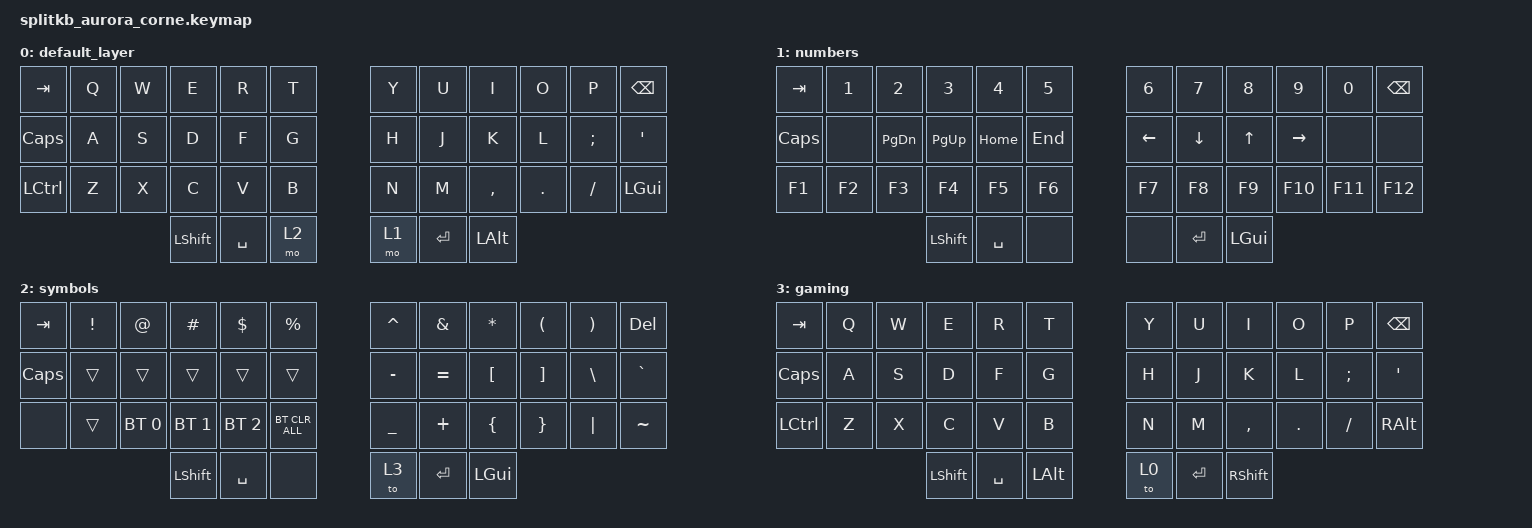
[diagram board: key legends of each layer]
/*
 * Copyright (c) 2020 The ZMK Contributors
 *
 * SPDX-License-Identifier: MIT
 */

#include <behaviors.dtsi>
#include <dt-bindings/zmk/bt.h>
#include <dt-bindings/zmk/keys.h>

/ {
    keymap {
        compatible = "zmk,keymap";

        default_layer {
            // -----------------------------------------------------------------------------------------
            // |  TAB |  Q  |  W  |  E  |  R  |  T  |   |  Y  |  U   |  I  |  O  |  P  | BSPC |
            // | CTRL |  A  |  S  |  D  |  F  |  G  |   |  H  |  J   |  K  |  L  |  ;  |  '   |
            // | SHFT |  Z  |  X  |  C  |  V  |  B  |   |  N  |  M   |  ,  |  .  |  /  | ESC  |
            //                    | GUI | LWR | SPC |   | ENT | RSE  | ALT |

            bindings = <
&kp TAB       &kp Q  &kp W  &kp E           &kp R      &kp T    &kp Y  &kp U      &kp I         &kp O    &kp P     &kp BSPC
&kp CAPSLOCK  &kp A  &kp S  &kp D           &kp F      &kp G    &kp H  &kp J      &kp K         &kp L    &kp SEMI  &kp SQT
&kp LCTRL     &kp Z  &kp X  &kp C           &kp V      &kp B    &kp N  &kp M      &kp COMMA     &kp DOT  &kp FSLH  &kp LEFT_GUI
                            &kp LEFT_SHIFT  &kp SPACE  &mo 2    &mo 1  &kp ENTER  &kp LEFT_ALT
            >;
        };

        numbers {
            // -----------------------------------------------------------------------------------------
            // |  TAB |  1  |  2  |  3  |  4  |  5  |   |  6  |  7  |  8  |  9  |  0  | BSPC |
            // | BTCLR| BT1 | BT2 | BT3 | BT4 | BT5 |   | LFT | DWN |  UP | RGT |     |      |
            // | SHFT |     |     |     |     |     |   |     |     |     |     |     |      |
            //                    | GUI |     | SPC |   | ENT |     | ALT |

            bindings = <
&kp TAB   &kp N1  &kp N2         &kp N3          &kp N4     &kp N5     &kp N6          &kp N7          &kp N8        &kp N9           &kp N0   &kp BACKSPACE
&kp CAPS  &none   &kp PAGE_DOWN  &kp PG_UP       &kp HOME   &kp END    &kp LEFT_ARROW  &kp DOWN_ARROW  &kp UP_ARROW  &kp RIGHT_ARROW  &none    &none
&kp F1    &kp F2  &kp F3         &kp F4          &kp F5     &kp F6     &kp F7          &kp F8          &kp F9        &kp F10          &kp F11  &kp F12
                                 &kp LEFT_SHIFT  &kp SPACE  &none      &none           &kp ENTER       &kp LEFT_GUI
            >;
        };

        symbols {
            // -----------------------------------------------------------------------------------------
            // |  TAB |  !  |  @  |  #  |  $  |  %  |   |  ^  |  &  |  *  |  (  |  )  | BSPC |
            // | CTRL |     |     |     |     |     |   |  -  |  =  |  [  |  ]  |  \  |  `   |
            // | SHFT |     |     |     |     |     |   |  _  |  +  |  {  |  }  | "|" |  ~   |
            //                    | GUI |     | SPC |   | ENT |     | ALT |

            bindings = <
&kp TAB   &kp EXCL  &kp AT        &kp HASH        &kp DLLR      &kp PRCNT         &kp CARET  &kp AMPS   &kp ASTRK     &kp LPAR  &kp RPAR  &kp DELETE
&kp CAPS  &trans    &trans        &trans          &trans        &trans            &kp MINUS  &kp EQUAL  &kp LBKT      &kp RBKT  &kp BSLH  &kp GRAVE
&none     &trans    &bt BT_SEL 0  &bt BT_SEL 1    &bt BT_SEL 2  &bt BT_CLR_ALL    &kp UNDER  &kp PLUS   &kp LBRC      &kp RBRC  &kp PIPE  &kp TILDE
                                  &kp LEFT_SHIFT  &kp SPACE     &none             &to 3      &kp ENTER  &kp LEFT_GUI
            >;
        };

        gaming {
            bindings = <
&kp TAB       &kp Q  &kp W  &kp E           &kp R      &kp T           &kp Y  &kp U      &kp I            &kp O    &kp P     &kp BSPC
&kp CAPSLOCK  &kp A  &kp S  &kp D           &kp F      &kp G           &kp H  &kp J      &kp K            &kp L    &kp SEMI  &kp SQT
&kp LCTRL     &kp Z  &kp X  &kp C           &kp V      &kp B           &kp N  &kp M      &kp COMMA        &kp DOT  &kp FSLH  &kp RIGHT_ALT
                            &kp LEFT_SHIFT  &kp SPACE  &kp LEFT_ALT    &to 0  &kp ENTER  &kp RIGHT_SHIFT
            >;
        };
    };
};
